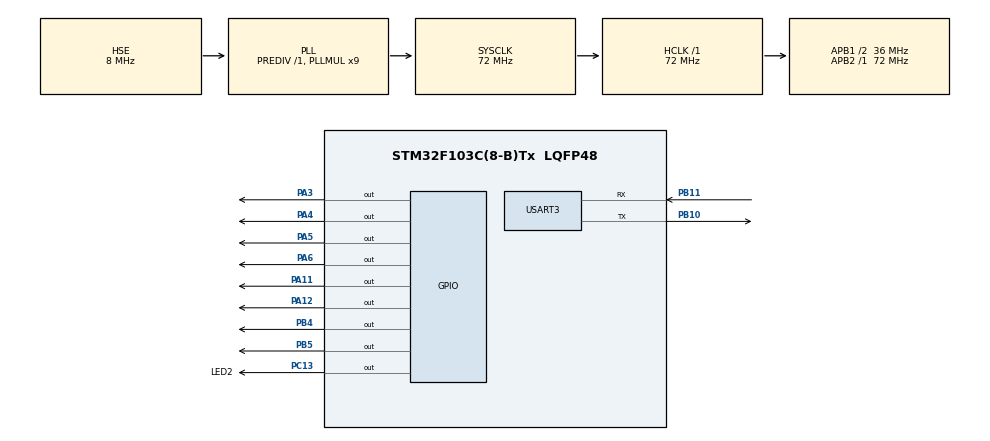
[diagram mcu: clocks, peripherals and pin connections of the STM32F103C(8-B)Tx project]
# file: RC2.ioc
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Mcu.Family=STM32F1
Mcu.Name=STM32F103C(8-B)Tx
Mcu.Package=LQFP48
NVIC.PriorityGroup=NVIC_PRIORITYGROUP_4
NVIC.TIM2_IRQn=true\:0\:0\:false\:false\:true\:true\:true\:true
NVIC.USART3_IRQn=true\:0\:0\:false\:false\:true\:true\:true\:true
PA11.PinState=GPIO_PIN_RESET
PA11.Signal=GPIO_Output
PA12.PinState=GPIO_PIN_RESET
PA12.Signal=GPIO_Output
PA13.Mode=Serial_Wire
PA13.Signal=SYS_JTMS-SWDIO
PA14.Mode=Serial_Wire
PA14.Signal=SYS_JTCK-SWCLK
PA3.GPIO_Speed=GPIO_SPEED_FREQ_LOW
PA3.Signal=GPIO_Output
PA4.GPIO_Speed=GPIO_SPEED_FREQ_LOW
PA4.Signal=GPIO_Output
PA5.PinState=GPIO_PIN_RESET
PA5.Signal=GPIO_Output
PA6.PinState=GPIO_PIN_RESET
PA6.Signal=GPIO_Output
PB10.Mode=Asynchronous
PB10.Signal=USART3_TX
PB11.Mode=Asynchronous
PB11.Signal=USART3_RX
PB4.PinState=GPIO_PIN_RESET
PB4.Signal=GPIO_Output
PB5.PinState=GPIO_PIN_RESET
PB5.Signal=GPIO_Output
PC13-TAMPER-RTC.GPIO_Label=LED2
PC13-TAMPER-RTC.Signal=GPIO_Output
PD0-OSC_IN.Mode=HSE-External-Oscillator
PD0-OSC_IN.Signal=RCC_OSC_IN
PD1-OSC_OUT.Mode=HSE-External-Oscillator
PD1-OSC_OUT.Signal=RCC_OSC_OUT
ProjectManager.HeapSize=0x200
ProjectManager.StackSize=0x400
ProjectManager.TargetToolchain=STM32CubeIDE
RCC.AHBFreq_Value=72000000
RCC.APB1CLKDivider=RCC_HCLK_DIV2
RCC.APB1Freq_Value=36000000
RCC.APB1TimFreq_Value=72000000
RCC.APB2Freq_Value=72000000
RCC.APB2TimFreq_Value=72000000
RCC.HCLKFreq_Value=72000000
RCC.PLLMUL=RCC_PLL_MUL9
RCC.PLLSourceVirtual=RCC_PLLSOURCE_HSE
RCC.SYSCLKFreq_VALUE=72000000
RCC.SYSCLKSource=RCC_SYSCLKSOURCE_PLLCLK
RCC.USBFreq_Value=72000000
TIM1.Period=999
TIM1.Prescaler=71
TIM2.Period=60000-1
TIM2.Prescaler=1199
TIM3.Period=999
TIM3.Prescaler=71
USART3.VirtualMode=VM_ASYNC
VP_TIM1_VS_ClockSourceINT.Mode=Internal
VP_TIM1_VS_ClockSourceITR.Mode=TriggerSource_ITR0
VP_TIM2_VS_ClockSourceINT.Mode=Internal
VP_TIM3_VS_ClockSourceINT.Mode=Internal
VP_TIM3_VS_ClockSourceITR.Mode=TriggerSource_ITR0
board=custom

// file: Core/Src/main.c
/* USER CODE BEGIN Header */
/**
  ******************************************************************************
  * @file           : main.c
  * @brief          : Main program body
  ******************************************************************************
  * @attention
  *
  * Copyright (c) 2024 STMicroelectronics.
  * All rights reserved.
  *
  * This software is licensed under terms that can be found in the LICENSE file
  * in the root directory of this software component.
  * If no LICENSE file comes with this software, it is provided AS-IS.
  *
  ******************************************************************************
  */
/* USER CODE END Header */
#include "main.h"
#include "tim.h"
#include "usart.h"
#include "gpio.h"

/* USER CODE BEGIN Includes */
#include <string.h>
#include "My_esp8266.h"
/* USER CODE END Includes */

/* USER CODE BEGIN PV */
#define RXBUFFERSIZE  256     //最大接收字节数
char RxBuffer[RXBUFFERSIZE];   //接收数据
uint8_t aRxBuffer;			//接收中断缓冲
uint8_t Uart2_Rx_Cnt = 0;		//接收缓冲计数
uint8_t my_test_v = 0 ;
char my_order[15]={0};
char receive_flag=0;

/* USER CODE END PV */

void SystemClock_Config(void);

int main(void)
{

  /* MCU Configuration--------------------------------------------------------*/

  /* Reset of all peripherals, Initializes the Flash interface and the Systick. */
  HAL_Init();

  /* Configure the system clock */
  SystemClock_Config();

  /* Initialize all configured peripherals */
  MX_GPIO_Init();
  MX_TIM2_Init();
  MX_TIM1_Init();
  MX_TIM3_Init();
  MX_USART3_UART_Init();//各种初始化
  /* USER CODE BEGIN 2 */
    //HAL_GPIO_WritePin(GPIOA,GPIO_PIN_8,GPIO_PIN_RESET );

    HAL_UART_Receive_IT(&huart3, (uint8_t *)&aRxBuffer, 1);//在第一次接收到数据的时候才会触发中断
    esp8266_start_trans();//wifi初始化
  /* USER CODE END 2 */

  /* Infinite loop */
  /* USER CODE BEGIN WHILE */
  while (1)
  {

      if(receive_flag)
      {
          receive_flag=0;
          if(strstr((const char*)my_order,(const char*)"1"))
          {
              Uart2_Rx_Cnt=0;
              memset(RxBuffer,0x00,sizeof(RxBuffer)); //清空数组
              memset(RxBuffer,0x00,sizeof(my_order)); //清空数组
              my_test_v=1;
          }
          else if(strstr((const char*)my_order,(const char*)"2"))
          {
              Uart2_Rx_Cnt=0;
              memset(RxBuffer,0x00,sizeof(RxBuffer)); //清空数组
              memset(RxBuffer,0x00,sizeof(my_order)); //清空数组
              my_test_v=2;
          }
          else if(strstr((const char*)my_order,(const char*)"3"))
          {
              Uart2_Rx_Cnt=0;
              memset(RxBuffer,0x00,sizeof(RxBuffer)); //清空数组
              memset(RxBuffer,0x00,sizeof(my_order)); //清空数组
              my_test_v=3;
          }
          else if(strstr((const char*)my_order,(const char*)"4"))
          {
              Uart2_Rx_Cnt=0;
              memset(RxBuffer,0x00,sizeof(RxBuffer)); //清空数组
              memset(RxBuffer,0x00,sizeof(my_order)); //清空数组
              my_test_v=4;
          }
          else if(strstr((const char*)my_order,(const char*)"5"))
          {
              Uart2_Rx_Cnt=0;
              memset(RxBuffer,0x00,sizeof(RxBuffer)); //清空数组
              memset(RxBuffer,0x00,sizeof(my_order)); //清空数组
              my_test_v=5;
          }

      }
      if(my_test_v==1)
      {
              HAL_GPIO_WritePin(GPIOA, GPIO_PIN_4, GPIO_PIN_SET);
              HAL_GPIO_WritePin(GPIOA, GPIO_PIN_3, GPIO_PIN_RESET);
              HAL_GPIO_WritePin(GPIOA, GPIO_PIN_6, GPIO_PIN_SET);
              HAL_GPIO_WritePin(GPIOA, GPIO_PIN_5, GPIO_PIN_RESET);
              HAL_GPIO_WritePin(GPIOB, GPIO_PIN_4, GPIO_PIN_SET);
              HAL_GPIO_WritePin(GPIOB, GPIO_PIN_5, GPIO_PIN_RESET);
              HAL_GPIO_WritePin(GPIOA, GPIO_PIN_11, GPIO_PIN_SET);
              HAL_GPIO_WritePin(GPIOA, GPIO_PIN_12, GPIO_PIN_RESET);

      }
      else if(my_test_v==2)
      {

              HAL_GPIO_WritePin(GPIOA, GPIO_PIN_3, GPIO_PIN_SET);
              HAL_GPIO_WritePin(GPIOA, GPIO_PIN_4, GPIO_PIN_RESET);
              HAL_GPIO_WritePin(GPIOA, GPIO_PIN_5, GPIO_PIN_SET);
              HAL_GPIO_WritePin(GPIOA, GPIO_PIN_6, GPIO_PIN_RESET);
              HAL_GPIO_WritePin(GPIOB, GPIO_PIN_5, GPIO_PIN_SET);
              HAL_GPIO_WritePin(GPIOB, GPIO_PIN_4, GPIO_PIN_RESET);
              HAL_GPIO_WritePin(GPIOA, GPIO_PIN_12, GPIO_PIN_SET);
              HAL_GPIO_WritePin(GPIOA, GPIO_PIN_11, GPIO_PIN_RESET);
              HAL_Delay(100);
      }
      else if(my_test_v==3)
      {

              HAL_GPIO_WritePin(GPIOA, GPIO_PIN_4, GPIO_PIN_SET);
              HAL_GPIO_WritePin(GPIOA, GPIO_PIN_3, GPIO_PIN_RESET);
              HAL_GPIO_WritePin(GPIOA, GPIO_PIN_5, GPIO_PIN_SET);
              HAL_GPIO_WritePin(GPIOA, GPIO_PIN_6, GPIO_PIN_RESET);
              HAL_GPIO_WritePin(GPIOB, GPIO_PIN_5, GPIO_PIN_SET);
              HAL_GPIO_WritePin(GPIOB, GPIO_PIN_4, GPIO_PIN_RESET);
              HAL_GPIO_WritePin(GPIOA, GPIO_PIN_11, GPIO_PIN_SET);
              HAL_GPIO_WritePin(GPIOA, GPIO_PIN_12, GPIO_PIN_RESET);
          HAL_Delay(100);

      }
      else if(my_test_v==4)
      {

          HAL_GPIO_WritePin(GPIOA,GPIO_PIN_3,GPIO_PIN_SET);
          HAL_GPIO_WritePin(GPIOA,GPIO_PIN_4,GPIO_PIN_RESET);
          HAL_GPIO_WritePin(GPIOA,GPIO_PIN_6,GPIO_PIN_SET);
          HAL_GPIO_WritePin(GPIOA,GPIO_PIN_5,GPIO_PIN_RESET);
          HAL_GPIO_WritePin(GPIOB,GPIO_PIN_4,GPIO_PIN_SET);
          HAL_GPIO_WritePin(GPIOB,GPIO_PIN_5,GPIO_PIN_RESET);
          HAL_GPIO_WritePin(GPIOA,GPIO_PIN_12,GPIO_PIN_SET);
          HAL_GPIO_WritePin(GPIOA,GPIO_PIN_11,GPIO_PIN_RESET);
          HAL_Delay(100);
      }
      else if(my_test_v==5)
      {

              HAL_GPIO_WritePin(GPIOA, GPIO_PIN_3, GPIO_PIN_RESET);
              HAL_GPIO_WritePin(GPIOA, GPIO_PIN_4, GPIO_PIN_RESET);
              HAL_GPIO_WritePin(GPIOA, GPIO_PIN_6, GPIO_PIN_RESET);
              HAL_GPIO_WritePin(GPIOA, GPIO_PIN_5, GPIO_PIN_RESET);
              HAL_GPIO_WritePin(GPIOB, GPIO_PIN_4, GPIO_PIN_RESET);
              HAL_GPIO_WritePin(GPIOB, GPIO_PIN_5, GPIO_PIN_RESET);
              HAL_GPIO_WritePin(GPIOA, GPIO_PIN_12, GPIO_PIN_RESET);
              HAL_GPIO_WritePin(GPIOA, GPIO_PIN_11, GPIO_PIN_RESET);
          HAL_Delay(100);
      }

    /* USER CODE END WHILE */

  }
}

void SystemClock_Config(void)
{
  RCC_OscInitTypeDef RCC_OscInitStruct = {0};
  RCC_ClkInitTypeDef RCC_ClkInitStruct = {0};

  /** Initializes the RCC Oscillators according to the specified parameters
  * in the RCC_OscInitTypeDef structure.
  */
  RCC_OscInitStruct.OscillatorType = RCC_OSCILLATORTYPE_HSE;
  RCC_OscInitStruct.HSEState = RCC_HSE_ON;
  RCC_OscInitStruct.HSEPredivValue = RCC_HSE_PREDIV_DIV1;
  RCC_OscInitStruct.HSIState = RCC_HSI_ON;
  RCC_OscInitStruct.PLL.PLLState = RCC_PLL_ON;
  RCC_OscInitStruct.PLL.PLLSource = RCC_PLLSOURCE_HSE;
  RCC_OscInitStruct.PLL.PLLMUL = RCC_PLL_MUL9;
  if (HAL_RCC_OscConfig(&RCC_OscInitStruct) != HAL_OK)
  {
    Error_Handler();
  }

  /** Initializes the CPU, AHB and APB buses clocks
  */
  RCC_ClkInitStruct.ClockType = RCC_CLOCKTYPE_HCLK|RCC_CLOCKTYPE_SYSCLK
                              |RCC_CLOCKTYPE_PCLK1|RCC_CLOCKTYPE_PCLK2;
  RCC_ClkInitStruct.SYSCLKSource = RCC_SYSCLKSOURCE_PLLCLK;
  RCC_ClkInitStruct.AHBCLKDivider = RCC_SYSCLK_DIV1;
  RCC_ClkInitStruct.APB1CLKDivider = RCC_HCLK_DIV2;
  RCC_ClkInitStruct.APB2CLKDivider = RCC_HCLK_DIV1;

  if (HAL_RCC_ClockConfig(&RCC_ClkInitStruct, FLASH_LATENCY_2) != HAL_OK)
  {
    Error_Handler();
  }
}

/* USER CODE BEGIN 4 */
void HAL_UART_RxCpltCallback(UART_HandleTypeDef *huart)
{
    /* Prevent unused argument(s) compilation warning */
    UNUSED(huart);
    /* NOTE: This function Should not be modified, when the callback is needed,
             the HAL_UART_TxCpltCallback could be implemented in the user file
     */

    if(Uart2_Rx_Cnt >= 255)  //溢出判断
    {
        Uart2_Rx_Cnt = 0;
        memset(RxBuffer,0x00,sizeof(RxBuffer));
    }
    else
    {
        static uint8_t Uart2_count=0;

        RxBuffer[Uart2_Rx_Cnt] = aRxBuffer;   //接收数据转存
        if(receive_flag==0)
        {
            if(RxBuffer[Uart2_Rx_Cnt-Uart2_count]=='<')
            {
                Uart2_count++;
                if((RxBuffer[Uart2_Rx_Cnt]=='>')||Uart2_count>=14)
                {
                    uint8_t My_i=0;
                    for(int i=Uart2_Rx_Cnt-Uart2_count+1;i<Uart2_Rx_Cnt+1;i++)
                    {
                        my_order[My_i++]=RxBuffer[i];
                        receive_flag=1;
                        Uart2_count=0;
                    }
                }
            }
        }
        Uart2_Rx_Cnt++;
    }

    HAL_UART_Receive_IT(&huart3, (uint8_t *)&aRxBuffer, 1);   //再开启接收中???
}

/* USER CODE END 4 */

void Error_Handler(void)
{
  __disable_irq();
  while (1)
  {
  }
}
